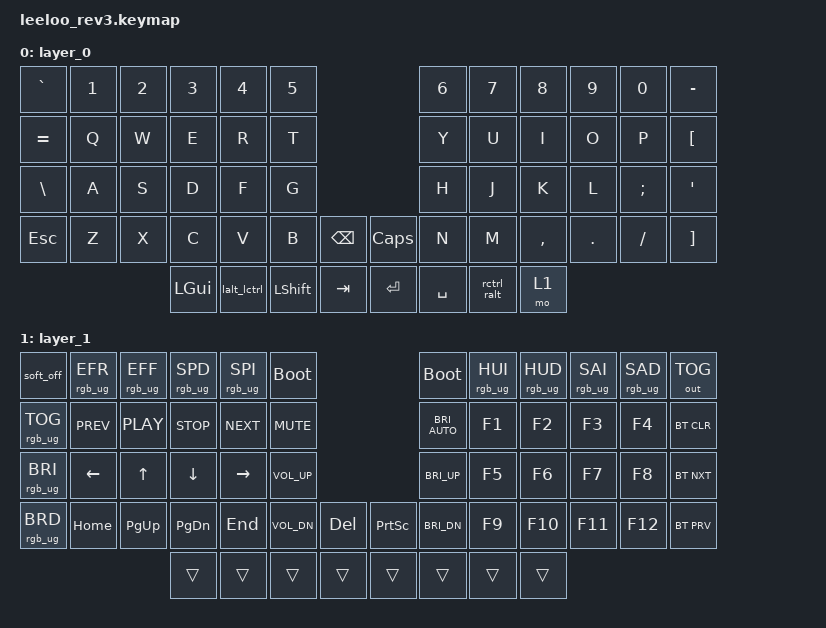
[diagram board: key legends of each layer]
#include <behaviors.dtsi>
#include <dt-bindings/zmk/bt.h>
#include <dt-bindings/zmk/keys.h>
#include <dt-bindings/zmk/outputs.h>
#include <dt-bindings/zmk/rgb.h>

nice_view_spi: &spi0 { cs-gpios = <&pro_micro 4 GPIO_ACTIVE_HIGH>; };

/ {
    behaviors {
        lalt_lctrl: lalt_lctrl {
            compatible = "zmk,behavior-tap-dance";
            #binding-cells = <0>;
            bindings = <&kp LALT>, <&kp LCTRL>;
        };

        rctrl_ralt: rctrl_ralt {
            compatible = "zmk,behavior-tap-dance";
            #binding-cells = <0>;
            bindings = <&kp RCTRL>, <&kp RALT>;
        };
    };

    keymap {
        compatible = "zmk,keymap";

        layer_0 {
            bindings = <
&kp GRAVE      &kp N1  &kp N2  &kp N3    &kp N4       &kp N5                                &kp N6     &kp N7       &kp N8     &kp N9   &kp N0    &kp MINUS
&kp EQUAL      &kp Q   &kp W   &kp E     &kp R        &kp T                                 &kp Y      &kp U        &kp I      &kp O    &kp P     &kp LEFT_BRACKET
&kp BACKSLASH  &kp A   &kp S   &kp D     &kp F        &kp G                                 &kp H      &kp J        &kp K      &kp L    &kp SEMI  &kp SQT
&kp ESC        &kp Z   &kp X   &kp C     &kp V        &kp B       &kp BACKSPACE  &kp CAPS   &kp N      &kp M        &kp COMMA  &kp DOT  &kp FSLH  &kp RIGHT_BRACKET
                               &kp LGUI  &lalt_lctrl  &kp LSHIFT  &kp TAB        &kp ENTER  &kp SPACE  &rctrl_ralt  &mo 1
            >;
        };

        layer_1 {
            bindings = <
&soft_off        &rgb_ug RGB_EFR  &rgb_ug RGB_EFF  &rgb_ug RGB_SPD  &rgb_ug RGB_SPI  &bootloader                       &bootloader     &rgb_ug RGB_HUI  &rgb_ug RGB_HUD  &rgb_ug RGB_SAI  &rgb_ug RGB_SAD  &out OUT_TOG
&rgb_ug RGB_TOG  &kp C_PREV       &kp C_PLAY       &kp C_STOP       &kp C_NEXT       &kp C_MUTE                        &kp C_BRI_AUTO  &kp F1           &kp F2           &kp F3           &kp F4           &bt BT_CLR
&rgb_ug RGB_BRI  &kp LEFT         &kp UP           &kp DOWN         &kp RIGHT        &kp C_VOL_UP                      &kp C_BRI_UP    &kp F5           &kp F6           &kp F7           &kp F8           &bt BT_NXT
&rgb_ug RGB_BRD  &kp HOME         &kp PG_UP        &kp PG_DN        &kp END          &kp C_VOL_DN  &kp DEL  &kp PSCRN  &kp C_BRI_DN    &kp F9           &kp F10          &kp F11          &kp F12          &bt BT_PRV
                                                   &trans           &trans           &trans        &trans   &trans     &trans          &trans           &trans
            >;
        };
    };
};
